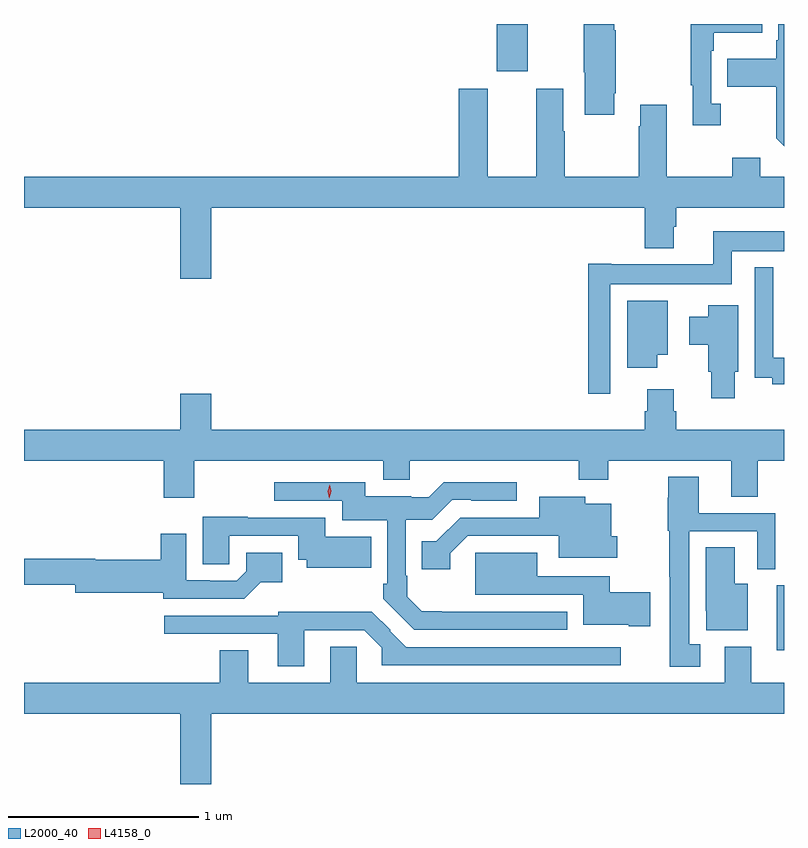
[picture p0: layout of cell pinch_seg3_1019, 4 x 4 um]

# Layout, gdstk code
import gdstk
lib = gdstk.Library(unit=1e-6, precision=1e-09)
def R(c, l, rs):  # rectangles x0, y0, x1, y1
    for r in rs: c.add(gdstk.rectangle(r[:2], r[2:], *l))
def P(c, l, *ps):  # polygons
    for p in ps: c.add(gdstk.Polygon(p, *l))
L2000_40 = (2000, 40)
L4158_0 = (4158, 0)

pinch_seg3_1019 = lib.new_cell('pinch_seg3_1019')
R(pinch_seg3_1019, L2000_40, [(611.705,679.938,611.742,680.281), (610.229,682.986,610.393,683.235)])
P(pinch_seg3_1019, L2000_40, [(611.742,683.235),(611.712,683.235),(611.712,683.149),(611.7,683.149),(611.7,683.053),(611.443,683.053),(611.443,682.906),(611.7,682.906),(611.7,682.633),(611.742,682.591)],
  [(611.41,682.814),(611.358,682.814),(611.358,683.093),(611.371,683.093),(611.371,683.189),(611.627,683.189),(611.627,683.235),(611.25,683.235),(611.25,682.913),(611.261,682.913),(611.261,682.701),(611.41,682.701)],
  [(610.849,682.87),(610.857,682.87),(610.857,683.201),(610.849,683.201),(610.849,683.235),(610.687,683.235),(610.687,682.981),(610.694,682.981),(610.694,682.758),(610.849,682.758)],
  [(608.728,682.268),(611.009,682.268),(611.009,682.055),(611.161,682.055),(611.161,682.167),(611.174,682.167),(611.174,682.268),(611.742,682.268),(611.742,682.432),(611.617,682.432),(611.617,682.531),(611.47,682.531),(611.47,682.432),(611.125,682.432),(611.125,682.81),(610.985,682.81),(610.985,682.697),(610.978,682.697),(610.978,682.432),(610.587,682.432),(610.587,682.67),(610.579,682.67),(610.579,682.894),(610.439,682.894),(610.439,682.432),(610.183,682.432),(610.183,682.894),(610.031,682.894),(610.031,682.432),(607.742,682.432),(607.742,682.268),(608.564,682.268),(608.564,681.894),(608.728,681.894)],
  [(610.827,681.866),(611.466,681.866),(611.466,682.04),(611.742,682.04),(611.742,682.144),(611.369,682.144),(611.369,681.97),(610.834,681.97),(610.834,681.973),(610.711,681.973),(610.711,681.288),(610.827,681.288)],
  [(611.742,681.478),(611.685,681.478),(611.685,681.955),(611.589,681.955),(611.589,681.372),(611.681,681.372),(611.681,681.338),(611.742,681.338)],
  [(611.074,681.494),(611.131,681.494),(611.131,681.778),(610.916,681.778),(610.916,681.426),(611.074,681.426)],
  [(611.482,681.405),(611.5,681.405),(611.5,681.754),(611.342,681.754),(611.342,681.694),(611.243,681.694),(611.243,681.547),(611.342,681.547),(611.342,681.405),(611.36,681.405),(611.36,681.264),(611.482,681.264)],
  [(611.174,681.198),(611.161,681.198),(611.161,681.313),(611.021,681.313),(611.021,681.198),(611.009,681.198),(611.009,681.1),(608.728,681.1),(608.728,681.289),(608.564,681.289),(608.564,681.1),(607.742,681.1),(607.742,680.936),(608.477,680.936),(608.477,680.742),(608.637,680.742),(608.637,680.936),(609.632,680.936),(609.632,680.837),(609.772,680.837),(609.772,680.936),(610.663,680.936),(610.663,680.837),(610.818,680.837),(610.818,680.936),(611.465,680.936),(611.465,680.746),(611.605,680.746),(611.605,680.936),(611.742,680.936),(611.742,681.1),(611.174,681.1)],
  [(611.302,679.97),(611.242,679.97),(611.242,680.565),(611.601,680.565),(611.601,680.364),(611.697,680.364),(611.697,680.661),(611.293,680.661),(611.293,680.851),(611.134,680.851),(611.134,680.741),(611.131,680.741),(611.131,680.568),(611.139,680.568),(611.139,680.326),(611.141,680.326),(611.141,679.853),(611.302,679.853)],
  [(610.6,680.142),(609.94,680.142),(609.94,680.145),(609.836,680.145),(609.76,680.22),(609.76,680.332),(609.75,680.332),(609.75,680.625),(609.891,680.625),(609.996,680.73),(610.096,680.73),(610.096,680.727),(610.336,680.727),(610.336,680.824),(609.952,680.824),(609.873,680.745),(609.779,680.745),(609.779,680.749),(609.538,680.749),(609.538,680.823),(609.06,680.823),(609.06,680.727),(609.416,680.727),(609.416,680.624),(609.654,680.624),(609.654,680.29),(609.634,680.29),(609.634,680.209),(609.797,680.046),(610.6,680.046)],
  [(609.985,680.449),(610.077,680.541),(610.556,680.541),(610.556,680.426),(610.864,680.426),(610.864,680.54),(610.834,680.54),(610.834,680.71),(610.696,680.71),(610.696,680.746),(610.454,680.746),(610.454,680.637),(610.037,680.637),(609.912,680.512),(609.835,680.512),(609.835,680.364),(609.985,680.364)],
  [(609.569,680.536),(609.328,680.536),(609.328,680.637),(608.92,680.637),(608.92,680.642),(608.684,680.642),(608.684,680.392),(608.823,680.392),(608.823,680.541),(609.185,680.541),(609.185,680.414),(609.23,680.414),(609.23,680.372),(609.569,680.372)],
  [(608.988,680.297),(609.1,680.297),(609.1,680.452),(608.913,680.452),(608.913,680.355),(608.862,680.304),(608.72,680.304),(608.72,680.307),(608.596,680.307),(608.596,680.551),(608.462,680.551),(608.462,680.414),(608.116,680.414),(608.116,680.42),(607.742,680.42),(607.742,680.284),(608.012,680.284),(608.012,680.242),(608.474,680.242),(608.474,680.211),(608.902,680.211)],
  [(611.551,680.29),(611.482,680.29),(611.482,680.48),(611.33,680.48),(611.33,680.146),(611.333,680.146),(611.333,680.045),(611.551,680.045)],
  [(611.038,680.243),(610.824,680.243),(610.824,680.328),(610.444,680.328),(610.444,680.452),(610.118,680.452),(610.118,680.231),(610.34,680.231),(610.34,680.232),(610.685,680.232),(610.685,680.072),(610.925,680.072),(610.925,680.065),(611.038,680.065)],
  [(609.217,680.043),(609.534,680.043),(609.625,679.953),(609.625,679.86),(610.882,679.86),(610.882,679.956),(609.753,679.956),(609.668,680.041),(609.671,680.044),(609.573,680.142),(609.081,680.142),(609.081,680.121),(608.481,680.121),(608.481,680.025),(609.077,680.025),(609.077,679.854),(609.217,679.854)],
  [(608.728,679.604),(611.742,679.604),(611.742,679.768),(611.569,679.768),(611.569,679.957),(611.429,679.957),(611.429,679.768),(609.492,679.768),(609.492,679.958),(609.353,679.958),(609.353,679.768),(608.923,679.768),(608.923,679.94),(608.771,679.94),(608.771,679.768),(607.742,679.768),(607.742,679.604),(608.564,679.604),(608.564,679.235),(608.728,679.235)])
P(pinch_seg3_1019, L4158_0, [(609.349,680.74),(609.349,680.74),(609.34,680.776),(609.351,680.811),(609.352,680.811),(609.352,680.811),(609.36,680.775),(609.349,680.74)])

lib.write_gds('pinch_seg3_1019.gds')
